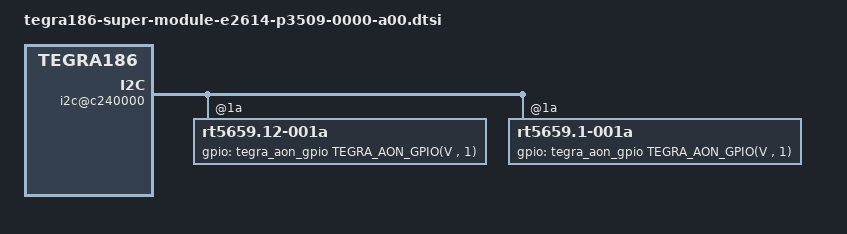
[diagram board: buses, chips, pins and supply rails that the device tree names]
/*
 * Copyright (c) 2020, NVIDIA CORPORATION.  All rights reserved.
 *
 * This program is free software; you can redistribute it and/or modify it
 * under the terms and conditions of the GNU General Public License,
 * version 2, as published by the Free Software Foundation.
 *
 * This program is distributed in the hope it will be useful, but WITHOUT
 * ANY WARRANTY; without even the implied warranty of MERCHANTABILITY or
 * FITNESS FOR A PARTICULAR PURPOSE.  See the GNU General Public License for
 * more details.
 *
 * You should have received a copy of the GNU General Public License
 * along with this program.  If not, see <http://www.gnu.org/licenses/>.
 */

/*
 * tegra186-super-module-e2614-p3509-0000-a00.dtsi: E2600 DTSI file.
 */

#include <t18x-common-modules/tegra186-super-module-e2614-p2597-1000-a00.dtsi>

/ {
	i2c@c240000 {
		i2cmux@70 {
			i2c@3 {
				rt5659.12-001a@1a {
					/* gpio for jack detection */
					gpios = <&tegra_aon_gpio TEGRA_AON_GPIO(V , 1) GPIO_ACTIVE_HIGH>;
				};
			};
		};

		rt5659.1-001a@1a {
			/* gpio for jack detection */
			gpios = <&tegra_aon_gpio TEGRA_AON_GPIO(V , 1) GPIO_ACTIVE_HIGH>;
		};
	};

	plugin-manager {
		fragment-e2614-common@0 {
			ids = "2614-0000-*";
			/*TODO Avoid this override in future by modifying common base file*/
			overrides@10 {
				target = <&tegra_sound>;
				_overlay_ {
					nvidia,num-codec-link = <12>;
					nvidia,audio-routing =
						"x Headphone Jack",	"x HPO L Playback",
						"x Headphone Jack",	"x HPO R Playback",
						"x IN1P",		"x Mic Jack",
						"x Int Spk",		"x SPO Playback",
						"x DMIC L1",		"x Int Mic",
						"x DMIC L2",		"x Int Mic",
						"x DMIC R1",		"x Int Mic",
						"x DMIC R2",		"x Int Mic",
						"y Headphone",          "y OUT",
						"y IN",                 "y Mic",
						"z Headphone",          "z OUT",
						"z IN",                 "z Mic",
						"m Headphone",          "m OUT",
						"m IN",                 "m Mic",
						"n Headphone",          "n OUT",
						"n IN",                 "n Mic",
						"o Headphone",          "o OUT",
						"o IN",                 "o Mic",
						"a IN",                 "a Mic",
						"b IN",                 "b Mic",
						"c IN",                 "c Mic",
						"d IN",                 "d Mic",
						"d1 Headphone",         "d1 OUT",
						"d2 Headphone",         "d2 OUT";
				};
			};

			/delete-node/ overrides@1;
			/delete-node/ overrides@2;
			/delete-node/ overrides@3;
			/delete-node/ overrides@4;
			/delete-node/ overrides@5;
			/delete-node/ overrides@6;
			/delete-node/ overrides@12;
			/delete-node/ overrides@13;
			/delete-node/ overrides@14;
			/delete-node/ overrides@15;
			/delete-node/ overrides@16;
			/delete-node/ overrides@17;
		};
	};
};
